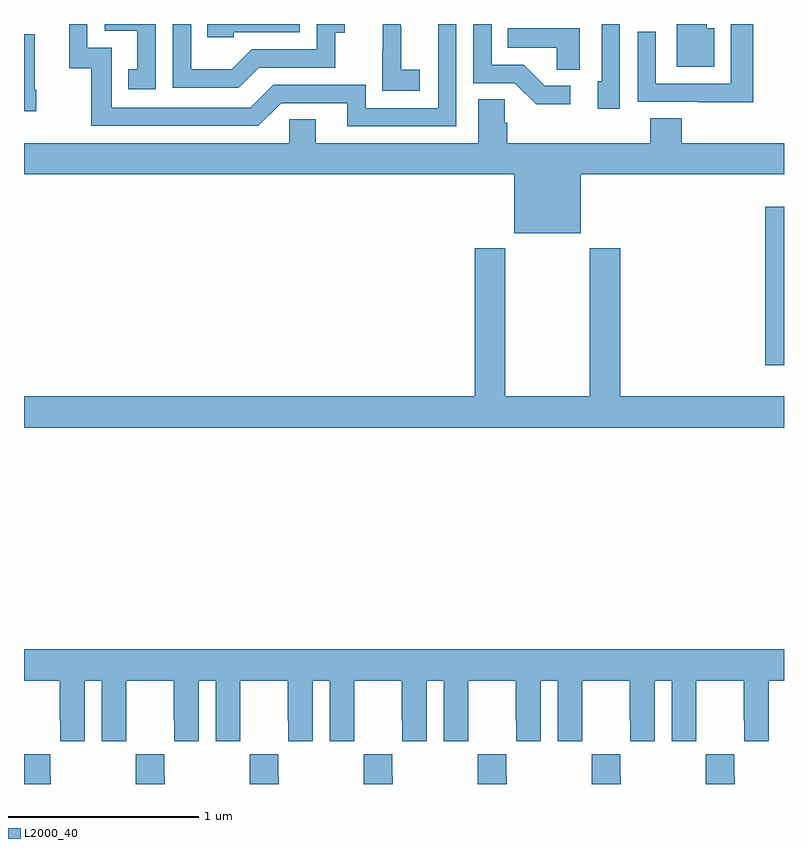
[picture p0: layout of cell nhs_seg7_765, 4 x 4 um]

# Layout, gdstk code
import gdstk
lib = gdstk.Library(unit=1e-6, precision=1e-09)
def R(c, l, rs):  # rectangles x0, y0, x1, y1
    for r in rs: c.add(gdstk.rectangle(r[:2], r[2:], *l))
def P(c, l, *ps):  # polygons
    for p in ps: c.add(gdstk.Polygon(p, *l))
L2000_40 = (2000, 40)

nhs_seg7_765 = lib.new_cell('nhs_seg7_765')
R(nhs_seg7_765, L2000_40, [(170.9,1074.204,171,1075.039)])
P(nhs_seg7_765, L2000_40, [(169.084,1075.759),(168.986,1075.759),(168.986,1075.988),(168.984,1075.988),(168.984,1076),(168.887,1076),(168.887,1075.855),(168.886,1075.855),(168.886,1075.649),(169.084,1075.649)],
  [(168.105,1075.956),(168.45,1075.956),(168.45,1076),(167.965,1076),(167.965,1075.929),(168.105,1075.929)],
  [(170.136,1076),(170.04,1076),(170.04,1075.698),(170.021,1075.698),(170.021,1075.554),(170.136,1075.554)],
  [(169.275,1076),(169.179,1076),(169.179,1075.557),(168.798,1075.557),(168.798,1075.68),(168.312,1075.68),(168.192,1075.56),(167.463,1075.56),(167.463,1075.875),(167.334,1075.875),(167.334,1076),(167.237,1076),(167.237,1075.767),(167.355,1075.767),(167.355,1075.464),(168.234,1075.464),(168.354,1075.584),(168.701,1075.584),(168.701,1075.461),(169.275,1075.461)],
  [(170.837,1076),(170.721,1076),(170.721,1075.686),(170.325,1075.686),(170.325,1075.96),(170.229,1075.96),(170.229,1075.59),(170.545,1075.59),(170.545,1075.589),(170.837,1075.589)],
  [(169.876,1075.674),(169.741,1075.674),(169.63,1075.785),(169.461,1075.785),(169.461,1076),(169.365,1076),(169.365,1075.689),(169.584,1075.689),(169.697,1075.577),(169.876,1075.577)],
  [(167.694,1076),(167.424,1076),(167.424,1075.965),(167.597,1075.965),(167.597,1075.761),(167.548,1075.761),(167.548,1075.656),(167.694,1075.656)],
  [(170.632,1075.978),(170.593,1075.978),(170.593,1076),(170.435,1076),(170.435,1075.775),(170.632,1075.775)],
  [(168.235,1075.77),(168.639,1075.77),(168.639,1075.955),(168.688,1075.955),(168.688,1076),(168.54,1076),(168.54,1075.866),(168.198,1075.866),(168.094,1075.762),(167.88,1075.762),(167.88,1076),(167.784,1076),(167.784,1075.665),(168.13,1075.665)],
  [(169.924,1075.978),(169.546,1075.978),(169.546,1075.874),(169.803,1075.874),(169.803,1075.759),(169.924,1075.759)],
  [(167.064,1075.654),(167.056,1075.654),(167.056,1075.945),(167,1075.945),(167,1075.542),(167.064,1075.542)],
  [(169.93,1075.208),(171,1075.208),(171,1075.372),(170.462,1075.372),(170.462,1075.505),(170.297,1075.505),(170.297,1075.372),(169.544,1075.372),(169.544,1075.481),(169.53,1075.481),(169.53,1075.604),(169.391,1075.604),(169.391,1075.372),(168.535,1075.372),(168.535,1075.499),(168.396,1075.499),(168.396,1075.372),(167,1075.372),(167,1075.208),(169.58,1075.208),(169.58,1074.899),(169.93,1074.899)],
  [(171,1074.04),(170.138,1074.04),(170.138,1074.82),(169.978,1074.82),(169.978,1074.04),(169.533,1074.04),(169.533,1074.82),(169.373,1074.82),(169.373,1074.04),(167,1074.04),(167,1073.876),(171,1073.876)],
  [(167,1072.544),(167.189,1072.544),(167.189,1072.336),(167.19,1072.336),(167.19,1072.224),(167.32,1072.224),(167.32,1072.544),(167.408,1072.544),(167.408,1072.224),(167.538,1072.224),(167.538,1072.336),(167.539,1072.336),(167.539,1072.544),(167.789,1072.544),(167.789,1072.336),(167.79,1072.336),(167.79,1072.224),(167.92,1072.224),(167.92,1072.544),(168.008,1072.544),(168.008,1072.224),(168.138,1072.224),(168.138,1072.336),(168.139,1072.336),(168.139,1072.544),(168.389,1072.544),(168.389,1072.336),(168.39,1072.336),(168.39,1072.224),(168.52,1072.224),(168.52,1072.544),(168.608,1072.544),(168.608,1072.224),(168.738,1072.224),(168.738,1072.336),(168.739,1072.336),(168.739,1072.544),(168.989,1072.544),(168.989,1072.336),(168.99,1072.336),(168.99,1072.224),(169.12,1072.224),(169.12,1072.544),(169.208,1072.544),(169.208,1072.224),(169.338,1072.224),(169.338,1072.336),(169.339,1072.336),(169.339,1072.544),(169.589,1072.544),(169.589,1072.336),(169.59,1072.336),(169.59,1072.224),(169.72,1072.224),(169.72,1072.544),(169.808,1072.544),(169.808,1072.224),(169.938,1072.224),(169.938,1072.336),(169.939,1072.336),(169.939,1072.544),(170.189,1072.544),(170.189,1072.336),(170.19,1072.336),(170.19,1072.224),(170.32,1072.224),(170.32,1072.544),(170.408,1072.544),(170.408,1072.224),(170.538,1072.224),(170.538,1072.336),(170.539,1072.336),(170.539,1072.544),(170.789,1072.544),(170.789,1072.336),(170.79,1072.336),(170.79,1072.224),(170.92,1072.224),(170.92,1072.544),(171,1072.544),(171,1072.708),(167,1072.708)],
  [(167.742,1072.043),(167.739,1072.043),(167.739,1072.156),(167.589,1072.156),(167.589,1072.043),(167.587,1072.043),(167.587,1072),(167.742,1072)],
  [(170.742,1072.043),(170.739,1072.043),(170.739,1072.156),(170.589,1072.156),(170.589,1072.043),(170.587,1072.043),(170.587,1072),(170.742,1072)],
  [(167.142,1072.043),(167.139,1072.043),(167.139,1072.156),(167,1072.156),(167,1072),(167.142,1072)],
  [(169.542,1072.043),(169.539,1072.043),(169.539,1072.156),(169.389,1072.156),(169.389,1072.043),(169.387,1072.043),(169.387,1072),(169.542,1072)],
  [(168.942,1072.043),(168.939,1072.043),(168.939,1072.156),(168.789,1072.156),(168.789,1072.043),(168.787,1072.043),(168.787,1072),(168.942,1072)],
  [(168.342,1072.043),(168.339,1072.043),(168.339,1072.156),(168.189,1072.156),(168.189,1072.043),(168.187,1072.043),(168.187,1072),(168.342,1072)],
  [(169.989,1072.156),(169.989,1072.043),(169.987,1072.043),(169.987,1072),(170.142,1072),(170.142,1072.043),(170.139,1072.043),(170.139,1072.156)])

lib.write_gds('nhs_seg7_765.gds')
